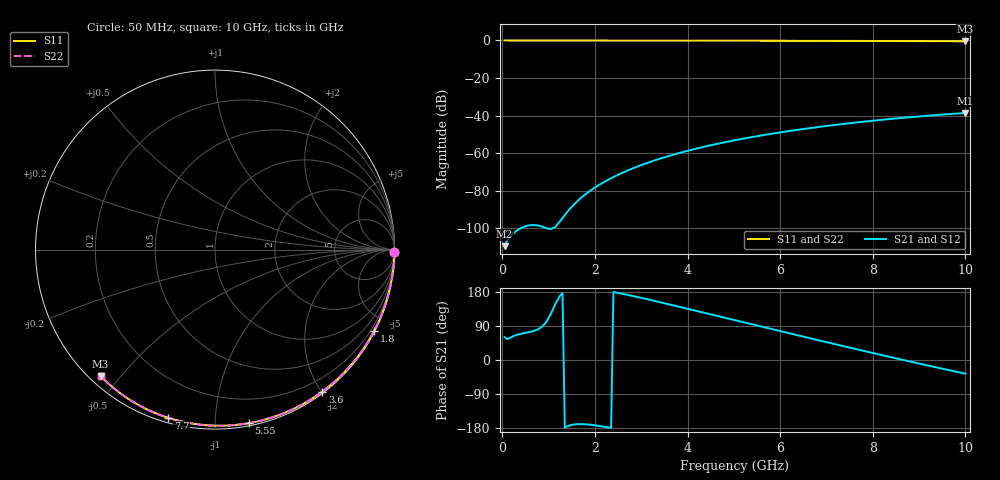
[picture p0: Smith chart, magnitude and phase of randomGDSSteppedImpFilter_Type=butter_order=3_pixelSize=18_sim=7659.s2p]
! freq	dB(S11)	phase(S11)	dB(S12)	phase(S12)
!  dB(S21)	phase(S21)	dB(S22)	phase(S22)
!S-par simulation data
#  GHz  S  DB  R 50
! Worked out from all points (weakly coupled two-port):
!   200 points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, 50 MHz to 10 GHz, reference 50 ohm
!   highest |S21| = -38.58 dB at 10 GHz (marker M1); lowest = -109.5 dB at 50 MHz (marker M2)
!   lowest |S11| = -0.4 dB at 10 GHz (marker M3), VSWR 39.21, Z = 1.53 - j22.2 ohm
!   |S11| at or under -10 dB: nowhere
!   |S22| runs from -0.4 to 0.0 dB; largest |S21 - S12| = 0
!   S11 on the Smith chart (normalised r, x): 50 MHz: open; 1.8 GHz: 0.04, -4.15; 3.6 GHz: 0.02, -2.01; 5.55 GHz: 0.02, -1.21; 7.7 GHz: 0.02, -0.76; 10 GHz: 0.03, -0.44
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0.05  -0.00 -0.8  -109.48 60.3  -109.48 60.3  -0.00 -0.8
0.45  -0.01 -6.9  -99.34 70.5  -99.34 70.5  -0.01 -6.9
0.9  -0.02 -13.7  -99.45 93.2  -99.45 93.2  -0.02 -13.7
1.75  -0.03 -26.3  -82.76 -169.4  -82.76 -169.4  -0.03 -26.3
1.8  -0.03 -27.1  -81.78 -169.7  -81.78 -169.7  -0.03 -27.1
1.9  -0.04 -28.5  -79.96 -170.8  -79.96 -170.8  -0.04 -28.5
2.05  -0.04 -30.7  -77.50 -173.1  -77.50 -173.1  -0.04 -30.7
2.25  -0.04 -33.7  -74.61 -177.1  -74.61 -177.1  -0.04 -33.7
2.45  -0.05 -36.6  -72.07 178.3  -72.07 178.3  -0.05 -36.6
2.65  -0.05 -39.5  -69.80 173.3  -69.80 173.3  -0.05 -39.5
3  -0.06 -44.5  -66.33 163.9  -66.33 163.9  -0.06 -44.5
3.4  -0.07 -50.1  -62.95 152.7  -62.95 152.7  -0.07 -50.1
3.6  -0.07 -52.9  -61.44 147.0  -61.44 147.0  -0.07 -52.9
4.3  -0.09 -62.5  -56.90 126.5  -56.90 126.5  -0.09 -62.5
5.05  -0.11 -72.5  -52.97 104.3  -52.97 104.3  -0.11 -72.5
5.55  -0.13 -79.0  -50.74 89.5  -50.74 89.5  -0.13 -79.0
6.1  -0.15 -86.0  -48.56 73.3  -48.56 73.3  -0.15 -86.0
6.7  -0.18 -93.5  -46.47 55.8  -46.47 55.8  -0.18 -93.5
7.7  -0.24 -105.6  -43.50 27.0  -43.50 27.0  -0.24 -105.5
8.35  -0.29 -113.2  -41.86 8.6  -41.86 8.6  -0.29 -113.2
9.15  -0.36 -122.4  -40.13 -13.5  -40.13 -13.5  -0.36 -122.4
10  -0.44 -132.1  -38.58 -36.2  -38.58 -36.2  -0.44 -132.1
